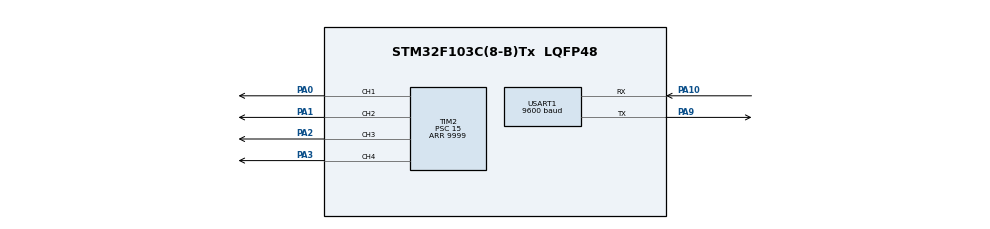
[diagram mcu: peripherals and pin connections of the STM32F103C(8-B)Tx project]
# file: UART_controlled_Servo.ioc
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FREERTOS.Tasks01=readUART_Servo,24,128,StartReadUART_Servo,Default,NULL,Dynamic,NULL,NULL;Servo01,24,128,StartServo01,Default,NULL,Dynamic,NULL,NULL
Mcu.Family=STM32F1
Mcu.Name=STM32F103C(8-B)Tx
Mcu.Package=LQFP48
NVIC.PriorityGroup=NVIC_PRIORITYGROUP_4
NVIC.TIM1_UP_IRQn=true\:15\:0\:false\:false\:true\:false\:false\:true
NVIC.TimeBase=TIM1_UP_IRQn
NVIC.TimeBaseIP=TIM1
PA0-WKUP.Signal=S_TIM2_CH1_ETR
PA1.Signal=S_TIM2_CH2
PA10.Mode=Asynchronous
PA10.Signal=USART1_RX
PA13.Mode=Serial_Wire
PA13.Signal=SYS_JTMS-SWDIO
PA14.Mode=Serial_Wire
PA14.Signal=SYS_JTCK-SWCLK
PA2.Signal=S_TIM2_CH3
PA3.Signal=S_TIM2_CH4
PA9.Mode=Asynchronous
PA9.Signal=USART1_TX
PD0-OSC_IN.Mode=HSE-External-Oscillator
PD0-OSC_IN.Signal=RCC_OSC_IN
PD1-OSC_OUT.Mode=HSE-External-Oscillator
PD1-OSC_OUT.Signal=RCC_OSC_OUT
ProjectManager.HeapSize=0x200
ProjectManager.StackSize=0x400
ProjectManager.TargetToolchain=Makefile
RCC.APB1Freq_Value=8000000
RCC.APB2Freq_Value=8000000
RCC.SYSCLKSource=RCC_SYSCLKSOURCE_HSE
SH.S_TIM2_CH1_ETR.0=TIM2_CH1,PWM Generation1 CH1
SH.S_TIM2_CH2.0=TIM2_CH2,PWM Generation2 CH2
SH.S_TIM2_CH3.0=TIM2_CH3,PWM Generation3 CH3
SH.S_TIM2_CH4.0=TIM2_CH4,PWM Generation4 CH4
TIM2.Channel-PWM\ Generation1\ CH1=TIM_CHANNEL_1
TIM2.Channel-PWM\ Generation2\ CH2=TIM_CHANNEL_2
TIM2.Channel-PWM\ Generation3\ CH3=TIM_CHANNEL_3
TIM2.Channel-PWM\ Generation4\ CH4=TIM_CHANNEL_4
TIM2.Period=9999
TIM2.Prescaler=15
USART1.BaudRate=9600
USART1.Parity=PARITY_EVEN
USART1.VirtualMode=VM_ASYNC
USART1.WordLength=WORDLENGTH_9B
VP_FREERTOS_VS_CMSIS_V2.Mode=CMSIS_V2
VP_SYS_VS_tim1.Mode=TIM1
VP_TIM2_VS_ClockSourceINT.Mode=Internal
board=custom

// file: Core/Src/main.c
/* USER CODE BEGIN Header */
/**
  ******************************************************************************
  * @file           : main.c
  * @brief          : Main program body
  ******************************************************************************
  * @attention
  *
  * <h2><center>&copy; Copyright (c) 2021 STMicroelectronics.
  * All rights reserved.</center></h2>
  *
  * This software component is licensed by ST under Ultimate Liberty license
  * SLA0044, the "License"; You may not use this file except in compliance with
  * the License. You may obtain a copy of the License at:
  *                             www.st.com/SLA0044
  *
  ******************************************************************************
  */
/* USER CODE END Header */
#include "main.h"
#include "cmsis_os.h"

/* USER CODE BEGIN Includes */
#include <stdio.h>
#include <stdlib.h>
/* USER CODE END Includes */

TIM_HandleTypeDef htim2;

UART_HandleTypeDef huart1;

/* Definitions for readUART_Servo */
osThreadId_t readUART_ServoHandle;
const osThreadAttr_t readUART_Servo_attributes = {
  .name = "readUART_Servo",
  .stack_size = 128 * 4,
  .priority = (osPriority_t) osPriorityNormal,
};
/* Definitions for Servo01 */
osThreadId_t Servo01Handle;
const osThreadAttr_t Servo01_attributes = {
  .name = "Servo01",
  .stack_size = 128 * 4,
  .priority = (osPriority_t) osPriorityNormal,
};

void SystemClock_Config(void);
static void MX_GPIO_Init(void);
static void MX_TIM2_Init(void);
static void MX_USART1_UART_Init(void);
void StartReadUART_Servo(void *argument);
void StartServo01(void *argument);

/* USER CODE BEGIN 0 */
float current_pos0 = 750;
float current_pos1 = 750;
float current_pos2 = 750;
float current_pos3 = 750;

/* USER CODE END 0 */

int main(void)
{

  /* MCU Configuration--------------------------------------------------------*/

  /* Reset of all peripherals, Initializes the Flash interface and the Systick. */
  HAL_Init();

  /* Configure the system clock */
  SystemClock_Config();

  /* Initialize all configured peripherals */
  MX_GPIO_Init();
  MX_TIM2_Init();
  MX_USART1_UART_Init();
  /* USER CODE BEGIN 2 */
  HAL_TIM_PWM_Start(&htim2, TIM_CHANNEL_1);
  HAL_TIM_PWM_Start(&htim2, TIM_CHANNEL_2);
  HAL_TIM_PWM_Start(&htim2, TIM_CHANNEL_3);
  HAL_TIM_PWM_Start(&htim2, TIM_CHANNEL_4);
  __HAL_TIM_SET_COMPARE(&htim2,TIM_CHANNEL_1, (uint16_t )current_pos0); //go to initial position
  __HAL_TIM_SET_COMPARE(&htim2,TIM_CHANNEL_2, (uint16_t )current_pos1); //go to initial position
  __HAL_TIM_SET_COMPARE(&htim2,TIM_CHANNEL_3, (uint16_t )current_pos2); //go to initial position
  __HAL_TIM_SET_COMPARE(&htim2,TIM_CHANNEL_4, (uint16_t )current_pos3); //go to initial position
  /* USER CODE END 2 */

  /* Init scheduler */
  osKernelInitialize();

  /* Create the thread(s) */
  /* creation of readUART_Servo */
  readUART_ServoHandle = osThreadNew(StartReadUART_Servo, NULL, &readUART_Servo_attributes);

  /* creation of Servo01 */
  Servo01Handle = osThreadNew(StartServo01, NULL, &Servo01_attributes);

  /* Start scheduler */
  osKernelStart();

  /* We should never get here as control is now taken by the scheduler */
  /* Infinite loop */
  while (1)
  {

  }
}

void SystemClock_Config(void)
{
  RCC_OscInitTypeDef RCC_OscInitStruct = {0};
  RCC_ClkInitTypeDef RCC_ClkInitStruct = {0};

  /** Initializes the RCC Oscillators according to the specified parameters
  * in the RCC_OscInitTypeDef structure.
  */
  RCC_OscInitStruct.OscillatorType = RCC_OSCILLATORTYPE_HSE;
  RCC_OscInitStruct.HSEState = RCC_HSE_ON;
  RCC_OscInitStruct.PLL.PLLState = RCC_PLL_NONE;
  if (HAL_RCC_OscConfig(&RCC_OscInitStruct) != HAL_OK)
  {
    Error_Handler();
  }
  /** Initializes the CPU, AHB and APB buses clocks
  */
  RCC_ClkInitStruct.ClockType = RCC_CLOCKTYPE_HCLK|RCC_CLOCKTYPE_SYSCLK
                              |RCC_CLOCKTYPE_PCLK1|RCC_CLOCKTYPE_PCLK2;
  RCC_ClkInitStruct.SYSCLKSource = RCC_SYSCLKSOURCE_HSE;
  RCC_ClkInitStruct.AHBCLKDivider = RCC_SYSCLK_DIV1;
  RCC_ClkInitStruct.APB1CLKDivider = RCC_HCLK_DIV1;
  RCC_ClkInitStruct.APB2CLKDivider = RCC_HCLK_DIV1;

  if (HAL_RCC_ClockConfig(&RCC_ClkInitStruct, FLASH_LATENCY_0) != HAL_OK)
  {
    Error_Handler();
  }
}

static void MX_TIM2_Init(void)
{

  TIM_ClockConfigTypeDef sClockSourceConfig = {0};
  TIM_MasterConfigTypeDef sMasterConfig = {0};
  TIM_OC_InitTypeDef sConfigOC = {0};

  htim2.Instance = TIM2;
  htim2.Init.Prescaler = 15;
  htim2.Init.CounterMode = TIM_COUNTERMODE_UP;
  htim2.Init.Period = 9999;
  htim2.Init.ClockDivision = TIM_CLOCKDIVISION_DIV1;
  htim2.Init.AutoReloadPreload = TIM_AUTORELOAD_PRELOAD_DISABLE;
  if (HAL_TIM_Base_Init(&htim2) != HAL_OK)
  {
    Error_Handler();
  }
  sClockSourceConfig.ClockSource = TIM_CLOCKSOURCE_INTERNAL;
  if (HAL_TIM_ConfigClockSource(&htim2, &sClockSourceConfig) != HAL_OK)
  {
    Error_Handler();
  }
  if (HAL_TIM_PWM_Init(&htim2) != HAL_OK)
  {
    Error_Handler();
  }
  sMasterConfig.MasterOutputTrigger = TIM_TRGO_RESET;
  sMasterConfig.MasterSlaveMode = TIM_MASTERSLAVEMODE_DISABLE;
  if (HAL_TIMEx_MasterConfigSynchronization(&htim2, &sMasterConfig) != HAL_OK)
  {
    Error_Handler();
  }
  sConfigOC.OCMode = TIM_OCMODE_PWM1;
  sConfigOC.Pulse = 0;
  sConfigOC.OCPolarity = TIM_OCPOLARITY_HIGH;
  sConfigOC.OCFastMode = TIM_OCFAST_DISABLE;
  if (HAL_TIM_PWM_ConfigChannel(&htim2, &sConfigOC, TIM_CHANNEL_1) != HAL_OK)
  {
    Error_Handler();
  }
  if (HAL_TIM_PWM_ConfigChannel(&htim2, &sConfigOC, TIM_CHANNEL_2) != HAL_OK)
  {
    Error_Handler();
  }
  if (HAL_TIM_PWM_ConfigChannel(&htim2, &sConfigOC, TIM_CHANNEL_3) != HAL_OK)
  {
    Error_Handler();
  }
  if (HAL_TIM_PWM_ConfigChannel(&htim2, &sConfigOC, TIM_CHANNEL_4) != HAL_OK)
  {
    Error_Handler();
  }
  HAL_TIM_MspPostInit(&htim2);

}

static void MX_USART1_UART_Init(void)
{

  huart1.Instance = USART1;
  huart1.Init.BaudRate = 9600;
  huart1.Init.WordLength = UART_WORDLENGTH_9B;
  huart1.Init.StopBits = UART_STOPBITS_1;
  huart1.Init.Parity = UART_PARITY_EVEN;
  huart1.Init.Mode = UART_MODE_TX_RX;
  huart1.Init.HwFlowCtl = UART_HWCONTROL_NONE;
  huart1.Init.OverSampling = UART_OVERSAMPLING_16;
  if (HAL_UART_Init(&huart1) != HAL_OK)
  {
    Error_Handler();
  }

}

static void MX_GPIO_Init(void)
{

  /* GPIO Ports Clock Enable */
  __HAL_RCC_GPIOD_CLK_ENABLE();
  __HAL_RCC_GPIOA_CLK_ENABLE();

}

void StartReadUART_Servo(void *argument)
{
  /* USER CODE BEGIN 5 */
  /* Infinite loop */
  for(;;)
  {
    char buffer[8];
    char msg[50];
    uint8_t arr[9] = {0};
    uint16_t i = 0;
    uint8_t joint = 0;
    uint16_t goal_pos0 = 0, goal_pos1 = 0, goal_pos2 = 0, goal_pos3 = 0, goal_pos = 0;
    if (HAL_UART_Receive(&huart1, buffer, 1, 1000) == HAL_OK && buffer[0] == '!') //only read if serial is OK and there is a start char "!"
    {
      while (buffer[0] != '#') //loop till encounter the end char "#"
      {
        HAL_UART_Receive(&huart1, buffer, 1, 1000);
        // if (buffer[0] == ':') //save all char before ":" in goal_pos
        // {
        //   if (joint == 0){
        //     joint++;
        //     i = 0;
        //     goal_pos0 = atoi(arr);
        //     memset(&arr[0], 0, sizeof(arr)); //clear arr array
        //     continue;
        //   }
        // }
        if (buffer[0] == '#') //add all char before "#" to goal_pos
        {
          goal_pos = atoi(arr);
          memset(&arr[0], 0, sizeof(arr)); //clear arr array
        }
        arr[i] = buffer[0]; //add buffer char to array
        i++;
      }

      // keep pwm values between 250 and 1250
      // if(goal_pos0>1250){
      //   goal_pos0 = 1250;
      // }
      // else if(goal_pos0<250){
      //   goal_pos0 = 250;
      // }

      // if(goal_pos1>1250){
      //   goal_pos1 = 1250;
      // }
      // else if(goal_pos1<250){
      //   goal_pos1 = 250;
      // }
      // if(goal_pos2>1250){
      //   goal_pos2 = 1250;
      // }
      // else if(goal_pos2<250){
      //   goal_pos2 = 250;
      // }
      // if(goal_pos3>1250){
      //   goal_pos3 = 1250;
      // }
      // else if(goal_pos3<250){
      //   goal_pos3 = 250;
      // }

      if (goal_pos == 0){
        goal_pos0 = 750;
        goal_pos1 = 750;
        goal_pos2 = 750;
        goal_pos3 = 650;
      }
      if (goal_pos == 1){
        goal_pos0 = 750;
        goal_pos1 = 750;
        goal_pos2 = 750;
        goal_pos3 = 950;
      }
      if (goal_pos == 2){
        goal_pos0 = 250;
        goal_pos1 = 750;
        goal_pos2 = 750;
        goal_pos3 = 950;
      }
      if (goal_pos == 3){
        goal_pos0 = 750;
        goal_pos1 = 550;
        goal_pos2 = 750;
        goal_pos3 = 950;
      }
      // sprintf(msg, "Set servo to: %f \n\r", goal_pos);
      // HAL_UART_Transmit(&huart1, msg, strlen(msg), 1000);
      // float servo0Smoothed;
      // float servo1Smoothed;
      // float servo2Smoothed;
      // float servo3Smoothed;

      //while(1){
        // servo0Smoothed = (goal_pos0 * 0.05) + (current_pos0 * 0.95);
        // servo1Smoothed = (goal_pos1 * 0.05) + (current_pos1 * 0.95);
        // servo2Smoothed = (goal_pos2 * 0.05) + (current_pos2 * 0.95);
        // servo3Smoothed = (goal_pos3 * 0.05) + (current_pos3 * 0.95);
        __HAL_TIM_SET_COMPARE(&htim2,TIM_CHANNEL_1, (uint16_t )goal_pos0);
        __HAL_TIM_SET_COMPARE(&htim2,TIM_CHANNEL_2, (uint16_t )goal_pos1);
        __HAL_TIM_SET_COMPARE(&htim2,TIM_CHANNEL_3, (uint16_t )goal_pos2);
        __HAL_TIM_SET_COMPARE(&htim2,TIM_CHANNEL_4, (uint16_t )goal_pos3);
        // sprintf(msg, "servo smoothed: %f \n\r", servo1Smoothed);
        // HAL_UART_Transmit(&huart1, msg, strlen(msg), 1000);
        osDelay(30);
        // if (abs(servo1Smoothed - goal_pos1)<10 && abs(servo2Smoothed - goal_pos2)<10){
        //   break;
        // }
        // current_pos0 = servo0Smoothed;
        // current_pos1 = servo1Smoothed;
        // current_pos2 = servo2Smoothed;
        // current_pos3 = servo3Smoothed;
      //}
    }
    osDelay(1);
  }
  osThreadTerminate(NULL);
  /* USER CODE END 5 */
}

void StartServo01(void *argument)
{
  for(;;)
  {
    osDelay(1);
  }
}

void HAL_TIM_PeriodElapsedCallback(TIM_HandleTypeDef *htim)
{
  if (htim->Instance == TIM1) {
    HAL_IncTick();
  }
}

void Error_Handler(void)
{
  __disable_irq();
  while (1)
  {
  }
}

/************************ (C) COPYRIGHT STMicroelectronics *****END OF FILE****/
